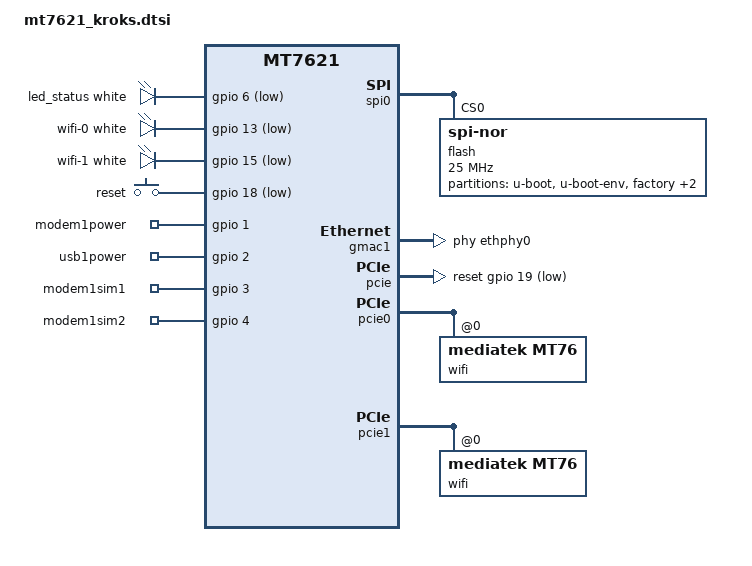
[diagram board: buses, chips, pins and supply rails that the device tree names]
#include "mt7621.dtsi"

#include <dt-bindings/input/input.h>
#include <dt-bindings/gpio/gpio.h>
#include <dt-bindings/leds/common.h>

/{
	chosen {
		bootargs = "console=ttyS0,115200";
	};

	aliases {
		led-boot = &led_status;
		led-failsafe = &led_status;
		led-running = &led_status;
		led-upgrade = &led_status;
		label-mac-device = &gmac0;
	};
	leds {
		compatible = "gpio-leds";

		led_status: status {
			function = LED_FUNCTION_STATUS;
			color = <LED_COLOR_ID_WHITE>;
			gpios = <&gpio 6 GPIO_ACTIVE_LOW>;
		};
		wifi-0 {
			function = LED_FUNCTION_WLAN;
			function-enumerator = <24>;
			color = <LED_COLOR_ID_WHITE>;
			gpios = <&gpio 13 GPIO_ACTIVE_LOW>;
			linux,default-trigger = "phy0tpt";
		};
		wifi-1 {
			function = LED_FUNCTION_WLAN;
			function-enumerator = <50>;
			color = <LED_COLOR_ID_WHITE>;
			gpios = <&gpio 15 GPIO_ACTIVE_LOW>;
			linux,default-trigger = "phy1tpt";
		};
		
	};

	keys {
		compatible = "gpio-keys";
		
		reset {
			label = "reset";
			gpios = <&gpio 18 GPIO_ACTIVE_LOW>;
			linux,code = <KEY_RESTART>;
		};
	};
	gpio_export {
		compatible = "gpio-export";
		#size-cells = <0>;

		modem1power {
			gpio-export,name = "modem1power";
			gpio-export,output = <0>;
			gpios = <&gpio 1 GPIO_ACTIVE_HIGH>;
		};

		usb1power {
			gpio-export,name = "usb1power";
			gpio-export,output = <0>;
			gpios = <&gpio 2 GPIO_ACTIVE_HIGH>;
		};

		modem1sim1 {
			gpio-export,name = "modem1sim1";
			gpio-export,output = <1>;
			gpios = <&gpio 3 GPIO_ACTIVE_HIGH>;
		};

		modem1sim2 {
			gpio-export,name = "modem1sim2";
			gpio-export,output = <0>;
			gpios = <&gpio 4 GPIO_ACTIVE_HIGH>;
		};
	};
};

&spi0 {
	status = "okay";

	flash@0 {
		compatible = "jedec,spi-nor";
		reg = <0>;
		spi-max-frequency = <25000000>;
		broken-flash-reset;
		m25p,fast-read;

		partitions {
			compatible = "fixed-partitions";
			#address-cells = <1>;
			#size-cells = <1>;

			partition@0 {
				label = "u-boot";
				reg = <0x0 0x30000>;
				read-only;
			};

			partition@30000 {
				label = "u-boot-env";
				reg = <0x30000 0x10000>;
			};

			factory: partition@40000 {
				label = "factory";
				reg = <0x40000 0x10000>;
				read-only;
			};

			partition@50000 {
				compatible = "denx,uimage";
				label = "firmware";
				reg = <0x50000 0x1eb0000>;
			};

			partition@1f00000 {
				label = "memory";
				reg = <0x1f00000 0x100000>;
			};
		};
	};
};
&state_default {
	gpio {
		groups = "wdt" , "uart3";
		function = "gpio";
	};
};
&factory {
	nvmem: nvmem-layout {
		compatible = "fixed-layout";
		#address-cells = <1>;
		#size-cells = <1>;

		macaddr_factory_28: macaddr@28 {
			reg = <0x28 0x6>;
		};

		macaddr_factory_2e: macaddr@2e {
			reg = <0x2e 0x6>;
		};
	};
};
&gmac0 {
	nvmem-cells = <&macaddr_factory_28>;
	nvmem-cell-names = "mac-address";
};

&gmac1 {
	status = "okay";
	label = "wan";
	phy-handle = <&ethphy0>;

	nvmem-cells = <&macaddr_factory_2e>;
	nvmem-cell-names = "mac-address";
};

&switch0 {
	ports {
		port@1 {
			status = "okay";
			label = "lan1";
		};

		port@2 {
			status = "okay";
			label = "lan2";
		};

		port@3 {
			status = "okay";
			label = "lan3";
		};
	};
};

&ethphy0 {
	reg = <0>;
};

&nvmem {
	eeprom_factory_0: eeprom@0 {
		reg = <0x0 0x400>;
	};

	eeprom_factory_8000: eeprom@8000 {
		reg = <0x8000 0x4da8>;
	};
};

&pcie {
	status = "okay";

	reset-gpios = <&gpio 19 GPIO_ACTIVE_LOW>,
		      <&gpio 0 GPIO_ACTIVE_LOW>;
};

&pcie0 {
	wifi@0,0 {
		compatible = "mediatek,mt76";
		reg = <0x0000 0 0 0 0>;
		nvmem-cells = <&eeprom_factory_0>;
		nvmem-cell-names = "eeprom";
		ieee80211-freq-limit = <2400000 2500000>;
	};
};

&pcie1 {
	wifi@0,0 {
		compatible = "mediatek,mt76";
		reg = <0x0000 0 0 0 0>;
		nvmem-cells = <&eeprom_factory_8000>;
		nvmem-cell-names = "eeprom";
		ieee80211-freq-limit = <5000000 6000000>;
	};
};
